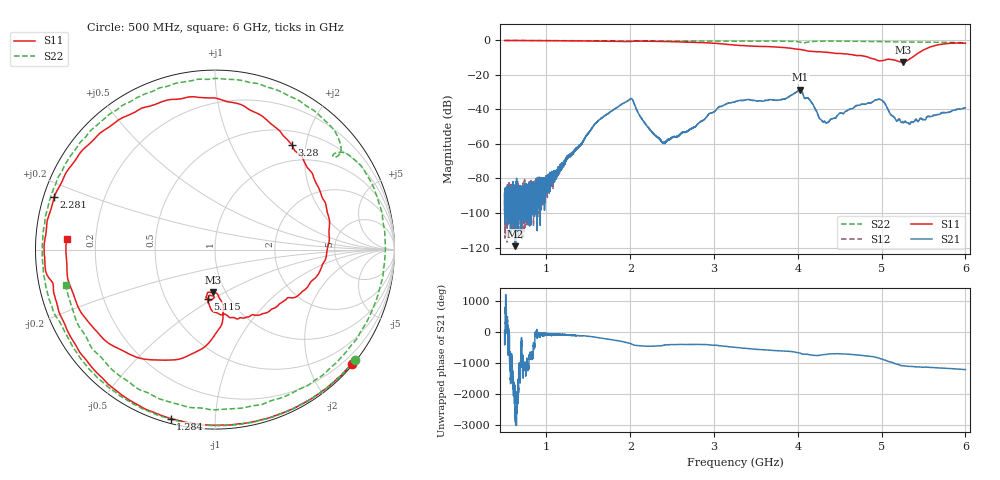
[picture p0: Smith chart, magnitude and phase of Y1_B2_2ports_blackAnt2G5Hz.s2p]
# Hz S DB R 50
! CMT, C2409, 19096212, 19.2.3/2
! Date: 3/29/2022 3:19:09 AM
! Data: Format (Calibration Info)
! Freq	S11:dB/Ang(F2)	S21:dB/Ang(F2)	S12:dB/Ang(F2)	S22:dB/Ang(F2)
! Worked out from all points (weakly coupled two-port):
!   5001 points, 500 MHz to 6 GHz, reference 50 ohm
!   highest |S21| = -28.63 dB at 4.03 GHz (marker M1); lowest = -119.2 dB at 628.4 MHz (marker M2)
!   lowest |S11| = -12.4 dB at 5.254 GHz (marker M3), VSWR 1.63, Z = 43.7 - j22.1 ohm
!   |S11| at or under -10 dB: 4.852 GHz to 5.36 GHz (508.1 MHz wide, 9.95 % of centre)
!   |S22| runs from -1.5 to 0.0 dB; largest |S21 - S12| = 0.00077
!   S11 on the Smith chart (normalised r, x): 500 MHz: 0.03, -2.77; 1.284 GHz: 0.02, -0.77; 2.281 GHz: 0.03, +0.16; 3.28 GHz: 0.72, +1.75; 5.115 GHz: 0.80, -0.47; 6 GHz: 0.10, +0.04
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5e8  -0.06 -39.8  -100.77 52.4  -92.99 88.8  -0.06 -38.4
6.284268e8  -0.08 -49.9  -119.22 -161.4  -87.44 -43.1  -0.09 -48.2
1.07274e9  -0.18 -86.5  -82.45 -78.9  -79.37 -60.8  -0.15 -82.3
1.284184e9  -0.24 -104.7  -66.13 -102.9  -66.77 -101.5  -0.20 -98.6
1.416977e9  -0.30 -116.4  -60.01 -118.5  -60.22 -117.4  -0.21 -108.9
1.622879e9  -0.44 -134.9  -46.31 179.2  -46.30 178.4  -0.27 -125.1
2.001562e9  -0.69 -168.4  -33.86 -7.2  -33.84 -7.3  -0.41 -154.2
2.281045e9  -0.52 162.0  -54.26 -91.6  -54.25 -91.8  -0.33 -176.4
2.333793e9  -0.60 156.4  -56.30 -84.6  -56.38 -82.6  -0.33 179.4
2.411613e9  -0.68 148.1  -58.97 -56.9  -59.07 -57.5  -0.34 173.2
2.817503e9  -1.27 104.2  -47.83 -36.3  -47.96 -36.3  -0.37 140.6
3.251061e9  -2.73 56.0  -35.53 -129.8  -35.53 -129.3  -0.46 106.0
3.280275e9  -2.82 53.6  -35.06 -138.4  -35.08 -138.2  -0.43 103.5
4.029642e9  -5.30 -24.8  -28.63 36.8  -28.66 37.1  -1.03 37.9
4.168149e9  -6.37 -35.9  -36.36 -22.9  -36.30 -23.0  -0.69 33.1
4.328594e9  -6.81 -49.6  -47.42 -6.0  -47.52 -6.2  -0.45 17.1
4.945281e9  -11.57 -97.5  -34.35 -104.6  -34.29 -104.7  -0.68 -42.0
5.084846e9  -10.90 -95.5  -40.90 129.1  -40.89 130.8  -0.77 -56.3
5.115261e9  -11.19 -98.2  -43.43 106.7  -43.18 107.8  -0.84 -59.2
5.254398e9  -12.43 -92.5  -47.57 -9.1  -47.06 -9.9  -0.91 -73.5
5.638606e9  -2.98 -120.1  -43.30 -74.3  -43.47 -72.5  -1.07 -116.9
6e9  -1.65 174.9  -39.11 -134.0  -38.97 -133.9  -1.38 -167.4
